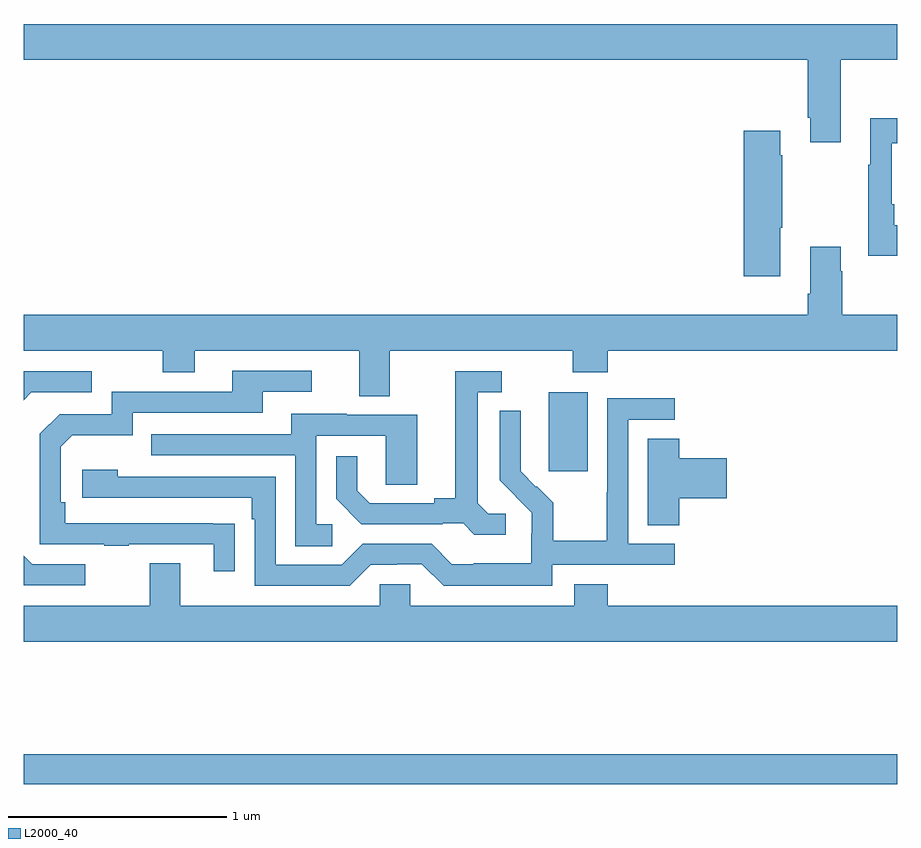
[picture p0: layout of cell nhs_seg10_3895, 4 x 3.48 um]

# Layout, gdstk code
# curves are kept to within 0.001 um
import gdstk
lib = gdstk.Library(unit=1e-6, precision=1e-09)
def R(c, l, rs):  # rectangles x0, y0, x1, y1
    for r in rs: c.add(gdstk.rectangle(r[:2], r[2:], *l))
def P(c, l, *ps):  # polygons
    for p in ps: c.add(gdstk.Polygon(p, *l))
L2000_40 = (2000, 40)

nhs_seg10_3895 = lib.new_cell('nhs_seg10_3895')
R(nhs_seg10_3895, L2000_40, [(325,1320.976,329,1321.112), (327.404,1322.409,327.583,1322.77)])
P(nhs_seg10_3895, L2000_40, [(328.741,1324.292),(329,1324.292),(329,1324.456),(325,1324.456),(325,1324.292),(328.589,1324.292),(328.589,1324.027),(328.601,1324.027),(328.601,1323.915),(328.741,1323.915)],
  [(329,1323.535),(328.987,1323.535),(328.987,1323.631),(328.974,1323.631),(328.974,1323.911),(329,1323.911),(329,1324.024),(328.877,1324.024),(328.877,1323.811),(328.866,1323.811),(328.866,1323.395),(329,1323.395)],
  [(328.465,1323.523),(328.473,1323.523),(328.473,1323.854),(328.465,1323.854),(328.465,1323.967),(328.298,1323.967),(328.298,1323.3),(328.465,1323.3)],
  [(326.677,1322.96),(327.514,1322.96),(327.514,1322.861),(327.674,1322.861),(327.674,1322.96),(329,1322.96),(329,1323.124),(328.749,1323.124),(328.749,1323.323),(328.741,1323.323),(328.741,1323.436),(328.601,1323.436),(328.601,1323.22),(328.589,1323.22),(328.589,1323.124),(325,1323.124),(325,1322.96),(325.636,1322.96),(325.636,1322.861),(325.783,1322.861),(325.783,1322.96),(326.537,1322.96),(326.537,1322.752),(326.677,1322.752)],
  [(325.967,1322.168),(325.19,1322.169),(325.19,1322.266),(325.17,1322.266),(325.17,1322.52),(325.223,1322.573),(325.5,1322.573),(325.5,1322.676),(326.095,1322.676),(326.095,1322.772),(326.32,1322.772),(326.32,1322.868),(325.955,1322.868),(325.955,1322.772),(325.404,1322.772),(325.404,1322.67),(325.164,1322.67),(325.074,1322.58),(325.074,1322.073),(325.369,1322.073),(325.369,1322.068),(325.481,1322.068),(325.481,1322.073),(325.871,1322.073),(325.871,1321.95),(325.967,1321.95)],
  [(327.208,1322.214),(327.126,1322.214),(327.079,1322.261),(327.079,1322.769),(327.19,1322.769),(327.19,1322.865),(326.975,1322.865),(326.975,1322.285),(326.879,1322.285),(326.879,1322.262),(326.584,1322.262),(326.527,1322.319),(326.527,1322.476),(326.43,1322.476),(326.43,1322.282),(326.546,1322.166),(326.918,1322.166),(326.918,1322.169),(327.012,1322.169),(327.064,1322.117),(327.208,1322.117)],
  [(325.035,1322.769),(325.312,1322.769),(325.312,1322.865),(325,1322.865),(325,1322.734)],
  [(327.42,1321.98),(327.982,1321.98),(327.982,1322.076),(327.768,1322.076),(327.768,1322.643),(327.982,1322.643),(327.982,1322.742),(327.672,1322.742),(327.672,1322.312),(327.67,1322.312),(327.67,1322.089),(327.425,1322.089),(327.425,1322.263),(327.348,1322.34),(327.345,1322.337),(327.275,1322.408),(327.276,1322.684),(327.18,1322.684),(327.18,1322.366),(327.326,1322.218),(327.326,1322.121),(327.324,1322.121),(327.324,1321.987),(327.061,1321.987),(327.061,1321.983),(326.961,1321.983),(326.868,1322.076),(326.553,1322.076),(326.457,1321.98),(326.154,1321.98),(326.154,1322.382),(325.43,1322.382),(325.43,1322.416),(325.269,1322.416),(325.269,1322.286),(326.045,1322.286),(326.045,1322.189),(326.058,1322.189),(326.058,1321.884),(326.493,1321.884),(326.589,1321.98),(326.708,1321.98),(326.708,1321.983),(326.823,1321.983),(326.923,1321.883),(327.42,1321.883)],
  [(326.413,1322.166),(326.34,1322.166),(326.34,1322.571),(326.658,1322.571),(326.658,1322.347),(326.803,1322.347),(326.803,1322.667),(326.479,1322.667),(326.479,1322.671),(326.225,1322.671),(326.225,1322.577),(325.585,1322.577),(325.585,1322.481),(326.244,1322.481),(326.244,1322.065),(326.413,1322.065)],
  [(328.001,1322.285),(328.219,1322.285),(328.219,1322.468),(328.001,1322.468),(328.001,1322.558),(327.857,1322.558),(327.857,1322.161),(328.001,1322.161)],
  [(325.282,1321.983),(325.038,1321.983),(325,1322.021),(325,1321.887),(325.282,1321.887)],
  [(329,1321.792),(327.674,1321.792),(327.674,1321.891),(327.521,1321.891),(327.521,1321.792),(326.769,1321.792),(326.769,1321.89),(326.631,1321.89),(326.631,1321.792),(325.717,1321.792),(325.717,1321.987),(325.577,1321.987),(325.577,1321.792),(325,1321.792),(325,1321.628),(329,1321.628)])

lib.write_gds('nhs_seg10_3895.gds')
